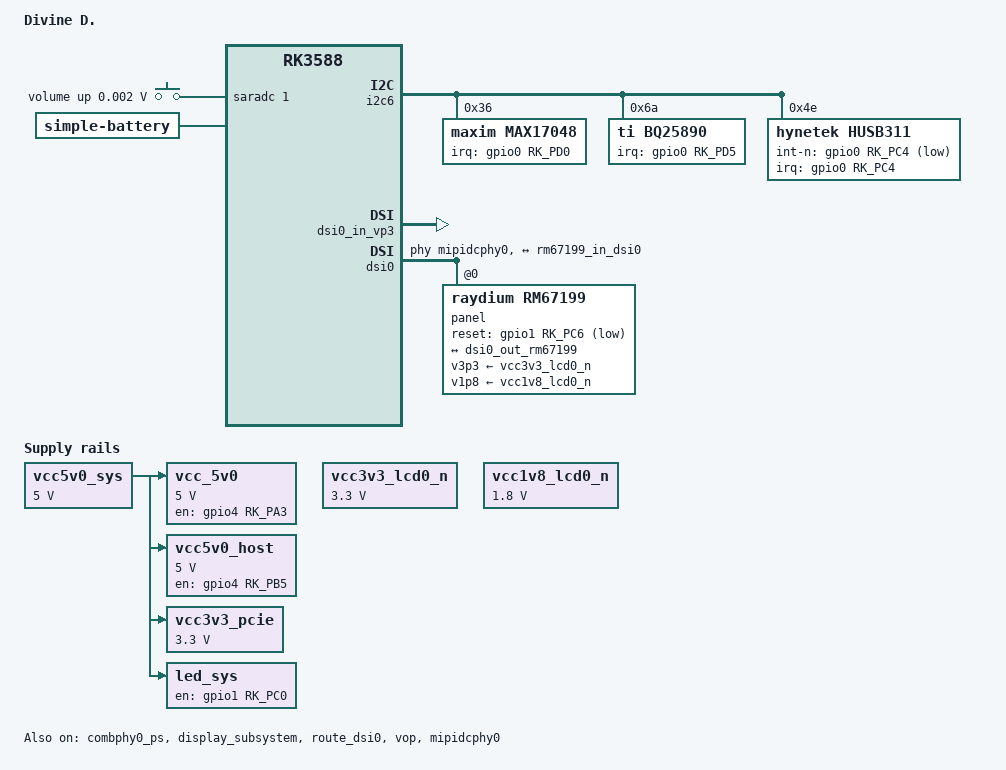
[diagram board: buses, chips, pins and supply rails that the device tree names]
// SPDX-License-Identifier: (GPL-2.0+ OR MIT)
/*
 * Copyright (c) 2021 Rockchip Electronics Co., Ltd
 *
 */

/dts-v1/;
#include "rk3588.dtsi"
#include "rockchip/rk3588-rk806-single.dtsi"
#include "rk3588-u-boot.dtsi"
#include <dt-bindings/input/input.h>
#include <dt-bindings/usb/pd.h>

/ {
	model = "Divine D.";
	compatible = "dawndrums,divine-d.", "rockchip,rk3588";

	reserved-memory {
		#address-cells = <2>;
		#size-cells = <2>;
		ranges;
		u-boot,dm-pre-reloc;

		u_boot_cma: u-boot-cma@d0000000 {
			u-boot,dm-pre-reloc;
			reg = <0x0 0xd0000000 0x0 0x20000000>;
		};
	};

	vcc5v0_sys: vcc5v0-sys {
		u-boot,dm-pre-reloc;
		compatible = "regulator-fixed";
		regulator-name = "vcc5v0_sys";
		regulator-always-on;
		regulator-boot-on;
		regulator-min-microvolt = <5000000>;
		regulator-max-microvolt = <5000000>;
	};

	vcc_5v0: vcc-5v0 {
		u-boot,dm-pre-reloc;
		compatible = "regulator-fixed";
		regulator-name = "vcc_5v0";
		regulator-min-microvolt = <5000000>;
		regulator-max-microvolt = <5000000>;
		regulator-boot-on;
		regulator-always-on;
		enable-active-high;
		gpio = <&gpio4 RK_PA3 GPIO_ACTIVE_HIGH>;
		pinctrl-names = "default";
		pinctrl-0 = <&vcc_5v0_en>;
		vin-supply = <&vcc5v0_sys>;
	};

	vcc5v0_host: vcc5v0-host-regulator {
		u-boot,dm-pre-reloc;
		compatible = "regulator-fixed";
		regulator-name = "vcc5v0_host";
		regulator-boot-on;
		regulator-always-on;
		regulator-min-microvolt = <5000000>;
		regulator-max-microvolt = <5000000>;
		enable-active-high;
		gpio = <&gpio4 RK_PB5 GPIO_ACTIVE_HIGH>;
		pinctrl-names = "default";
		pinctrl-0 = <&vcc5v0_host_en>;
		vin-supply = <&vcc5v0_sys>;
	};

	vcc3v3_pcie: vcc3v3-pcie {
		u-boot,dm-pre-reloc;
		compatible = "regulator-fixed";
		regulator-name = "vcc3v3_pcie";
		regulator-min-microvolt = <3300000>;
		regulator-max-microvolt = <3300000>;
		enable-active-high;
		vin-supply = <&vcc5v0_sys>;
	};

	vcc3v3_lcd0_n: regulator-vcc3v3-lcd0-n {
		u-boot,dm-pre-reloc;
		compatible = "regulator-fixed";
		regulator-name = "vcc3v3_lcd0_n";
		regulator-min-microvolt = <3300000>;
		regulator-max-microvolt = <3300000>;
		regulator-boot-on;
		regulator-always-on;
	};

	vcc1v8_lcd0_n: regulator-vcc1v8-lcd0-n {
		u-boot,dm-pre-reloc;
		compatible = "regulator-fixed";
		regulator-name = "vcc1v8_lcd0_n";
		regulator-min-microvolt = <1800000>;
		regulator-max-microvolt = <1800000>;
		regulator-boot-on;
		regulator-always-on;
	};

	led_sys: led-sys {
		u-boot,dm-pre-reloc;
		compatible = "regulator-fixed";
		regulator-name = "led_sys";
		enable-active-high;
		gpio = <&gpio1 RK_PC0 GPIO_ACTIVE_HIGH>; /* Turn on user LED */
		regulator-boot-on;
		regulator-always-on;
		vin-supply = <&vcc5v0_sys>;
	};

	adc-keys {
		compatible = "adc-keys";
		io-channels = <&saradc 1>;
		io-channel-names = "buttons";
		keyup-threshold-microvolt = <1800000>;
		u-boot,dm-pre-reloc;
		status = "okay";

		volumeup-key {
			u-boot,dm-pre-reloc;
			linux,code = <KEY_VOLUMEUP>;
			label = "volume up";
			press-threshold-microvolt = <1750>;
		};
	};

	battery: battery {
		u-boot,dm-pre-reloc;

		compatible = "simple-battery";
		device-chemistry = "lithium-ion-polymer";
		charge-full-design-microamp-hours = <3000000>;
		voltage-max-design-microvolt = <4400000>;
		constant-charge-voltage-max-microvolt = <4400000>;
	};
};

&combphy0_ps {
	status = "okay";
	u-boot,dm-pre-reloc;
};

&pcie2x1l2 {
	status = "disabled";
	reset-gpios = <&gpio3 RK_PD1 GPIO_ACTIVE_HIGH>;
	u-boot,dm-pre-reloc;
	vpcie3v3-supply = <&vcc3v3_pcie>;
};

&usb_host0_ehci {
	status = "disabled";
	u-boot,dm-pre-reloc;
};

&usb_host0_ohci {
	status = "disabled";
	u-boot,dm-pre-reloc;
};

&usb2phy2_grf {
	status = "disabled";
	u-boot,dm-pre-reloc;
};

&u2phy2 {
	status = "disabled";
	u-boot,dm-pre-reloc;
};

&u2phy2_host {
	status = "disabled";
	u-boot,dm-pre-reloc;
};

&usb_host1_ehci {
	status = "disabled";
	u-boot,dm-pre-reloc;
};

&usb_host1_ohci {
	status = "disabled";
	u-boot,dm-pre-reloc;
};

&usb2phy3_grf {
	status = "disabled";
	u-boot,dm-pre-reloc;
};

&u2phy3 {
	status = "disabled";
	u-boot,dm-pre-reloc;
};

&u2phy3_host {
	status = "disabled";
	u-boot,dm-pre-reloc;
};

&sfc {
	status = "disabled";
	pinctrl-names = "default";
	pinctrl-0 = <&fspim0_pins>;
};

&spi_nor {
	status = "disabled";
};

&pinctrl {

	/delete-node/ fspi;
	fspi {
		u-boot,dm-spl;
		fspim0_pins: fspim0-pins {
			u-boot,dm-spl;
			rockchip,pins =
				/* fspi_clk_m0 */
				<2 RK_PA0 2 &pcfg_pull_none>,
				/* fspi_cs0n_m0 */
				<2 RK_PD6 2 &pcfg_pull_none>,
				/* fspi_d0_m0 */
				<2 RK_PD0 2 &pcfg_pull_none>,
				/* fspi_d1_m0 */
				<2 RK_PD1 2 &pcfg_pull_none>,
				/* fspi_d2_m0 */
				<2 RK_PD2 2 &pcfg_pull_none>,
				/* fspi_d3_m0 */
				<2 RK_PD3 2 &pcfg_pull_none>;
		};
	};

	usb {
		u-boot,dm-pre-reloc;
		vcc5v0_host_en: vcc5v0-host-en {
			u-boot,dm-pre-reloc;
			rockchip,pins = <4 RK_PB5 RK_FUNC_GPIO &pcfg_pull_none>;
		};
	};

	power {
		u-boot,dm-spl;
		vcc_5v0_en: vcc-5v0-en {
			u-boot,dm-spl;
			rockchip,pins = <4 RK_PA3 RK_FUNC_GPIO &pcfg_pull_none>;
		};
	};

	display {
		rm67199_reset: rm67199-reset {
			u-boot,dm-pre-reloc;
			rockchip,pins =
				<1 RK_PC6 RK_FUNC_GPIO &pcfg_pull_up>;
		};
	};

	gauge {
		fuel_gauge: fuel-gauge {
			u-boot,dm-pre-reloc;
			rockchip,pins = <0 RK_PD0 RK_FUNC_GPIO &pcfg_pull_none>;
		};
	};
};

&i2c6m3_xfer {
	u-boot,dm-pre-reloc;
};

&i2c6 {
	u-boot,dm-pre-reloc;
	status = "okay";
	pinctrl-names = "default";
	pinctrl-0 = <&i2c6m3_xfer>;

	max17048: fuel-gauge@36 {
		u-boot,dm-pre-reloc;
		compatible = "maxim,max17048";
		reg = <0x36>;

		interrupt-parent = <&gpio0>;
		interrupts = <RK_PD0 IRQ_TYPE_LEVEL_LOW>;
		pinctrl-names = "default";
		pinctrl-0 = <&fuel_gauge>;

		maxim,double-soc;
		maxim,alert-low-soc-level = <5>;
		monitored-battery = <&battery>;
		power-supplies = <&bq25890>;
		status = "okay";
	};

	bq25890: charger@6a {
		u-boot,dm-pre-reloc;
		compatible = "ti,bq25890";
		reg = <0x6a>;
		ti,charge-current = <1500000>;

		interrupt-parent = <&gpio0>;
		interrupts = <RK_PD5 IRQ_TYPE_LEVEL_LOW>;
		status = "okay";
	};

	husb311: husb311@4e {
		u-boot,dm-pre-reloc;
		compatible = "hynetek,husb311";
		reg = <0x4e>;

		interrupt-parent = <&gpio0>;
		interrupts = <RK_PC4 IRQ_TYPE_LEVEL_LOW>;
		int-n-gpios = <&gpio0 RK_PC4 GPIO_ACTIVE_LOW>;
		status = "okay";

		connector {
			u-boot,dm-pre-reloc;
			compatible = "usb-c-connector";
			power-role = "sink";

			sink-pdos = <
				PDO_FIXED(5000, 3000, PDO_FIXED_USB_COMM)
				PDO_FIXED(9000, 3000, PDO_FIXED_USB_COMM)
			>;

			op-sink-microwatt = <27000000>;
		};
	};
};
&{/} {
	charge_animation {
		u-boot,dm-pre-reloc;
		compatible = "rockchip,uboot-charge";

		rockchip,uboot-charge-on = <1>;
		rockchip,uboot-exit-charge-auto = <1>;
		rockchip,uboot-exit-charge-level = <5>;
		rockchip,uboot-exit-charge-voltage = <0>;
		rockchip,uboot-low-power-voltage = <3300>;
		rockchip,screen-on-voltage = <3500>;
	};
};

&display_subsystem {
	u-boot,dm-pre-reloc;
	status = "okay";
};

&route_dsi0 {
	u-boot,dm-pre-reloc;
	status = "okay";
};

&vop {
	u-boot,dm-pre-reloc;
	status = "okay";
	assigned-clocks = <&cru DCLK_VOP3>;
	assigned-clock-parents = <&cru PLL_V0PLL>;
};

&vop_mmu {
	u-boot,dm-pre-reloc;
	status = "okay";
};

&mipidcphy0 {
	u-boot,dm-pre-reloc;
	status = "okay";
};

&dsi0_in_vp3 {
	u-boot,dm-pre-reloc;
	status = "okay";
};

&dsi0 {
	u-boot,dm-pre-reloc;
	#address-cells = <1>;
	#size-cells = <0>;
	status = "okay";

	phys = <&mipidcphy0>;
	phy-names = "dcphy";

	panel@0 {
		u-boot,dm-pre-reloc;
		compatible = "raydium,rm67199";
		reg = <0>;
		status = "okay";

		v3p3-supply = <&vcc3v3_lcd0_n>;
		v1p8-supply = <&vcc1v8_lcd0_n>;

		pinctrl-names = "default";
		pinctrl-0 = <&rm67199_reset>;
		reset-gpios = <&gpio1 RK_PC6 GPIO_ACTIVE_LOW>;

		dsi-lanes = <4>;
		video-mode = <2>;

		width-mm = <68>;
		height-mm = <121>;

		display-timings {
			u-boot,dm-pre-reloc;
			native-mode = <&rm67199_timing0>;

			rm67199_timing0: timing0 {
				u-boot,dm-pre-reloc;
				clock-frequency = <121000000>;

				hactive = <1080>;
				hfront-porch = <20>;
				hsync-len = <2>;
				hback-porch = <34>;

				vactive = <1920>;
				vfront-porch = <10>;
				vsync-len = <2>;
				vback-porch = <4>;

				hsync-active = <0>;
				vsync-active = <0>;
				de-active = <0>;
				pixelclk-active = <0>;
			};
		};

		port {
			rm67199_in_dsi0: endpoint {
				remote-endpoint = <&dsi0_out_rm67199>;
			};
		};
	};

	/*
	 * The base RK3588S DTSI provides DSI0 port@0 as the VOP input.
	 * Add port@1 here as the DSI host output to the panel.
	 */
	ports {
		#address-cells = <1>;
		#size-cells = <0>;

		port@1 {
			reg = <1>;

			dsi0_out_rm67199: endpoint {
				remote-endpoint = <&rm67199_in_dsi0>;
			};
		};
	};
};

&sys_grf {
	u-boot,dm-pre-reloc;
};

&vo1_grf {
	u-boot,dm-pre-reloc;
};

&pmu {
	u-boot,dm-pre-reloc;
};

&power {
	u-boot,dm-pre-reloc;
};

&spi2 {
	u-boot,dm-pre-reloc;
};

&spi2m2_cs0 {
	u-boot,dm-pre-reloc;
};

&spi2m2_pins {
	u-boot,dm-pre-reloc;
};

&gpio0 {
	u-boot,dm-pre-reloc;
};

&rk806single {
	u-boot,dm-pre-reloc;
};
